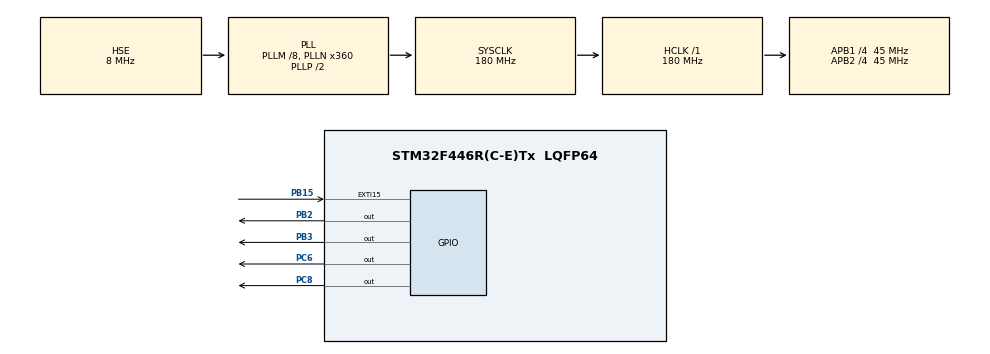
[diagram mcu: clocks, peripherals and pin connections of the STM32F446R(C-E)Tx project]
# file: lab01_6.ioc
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Mcu.Family=STM32F4
Mcu.Name=STM32F446R(C-E)Tx
Mcu.Package=LQFP64
NVIC.EXTI15_10_IRQn=true\:0\:0\:false\:false\:true\:true\:true\:true
NVIC.PriorityGroup=NVIC_PRIORITYGROUP_4
PA13.Mode=Serial_Wire
PA13.Signal=SYS_JTMS-SWDIO
PA14.Mode=Serial_Wire
PA14.Signal=SYS_JTCK-SWCLK
PB15.GPIO_ModeDefaultEXTI=GPIO_MODE_IT_RISING_FALLING
PB15.Signal=GPXTI15
PB2.Signal=GPIO_Output
PB3.Signal=GPIO_Output
PC6.Signal=GPIO_Output
PC8.Signal=GPIO_Output
PH0-OSC_IN.Mode=HSE-External-Oscillator
PH0-OSC_IN.Signal=RCC_OSC_IN
PH1-OSC_OUT.Mode=HSE-External-Oscillator
PH1-OSC_OUT.Signal=RCC_OSC_OUT
ProjectManager.HeapSize=0x200
ProjectManager.StackSize=0x400
ProjectManager.TargetToolchain=STM32CubeIDE
RCC.AHBFreq_Value=180000000
RCC.APB1CLKDivider=RCC_HCLK_DIV4
RCC.APB1Freq_Value=45000000
RCC.APB1TimFreq_Value=90000000
RCC.APB2CLKDivider=RCC_HCLK_DIV4
RCC.APB2Freq_Value=45000000
RCC.APB2TimFreq_Value=90000000
RCC.CortexFreq_Value=180000000
RCC.HCLKFreq_Value=180000000
RCC.HSE_VALUE=8000000
RCC.PLLM=8
RCC.PLLN=360
RCC.PLLSourceVirtual=RCC_PLLSOURCE_HSE
RCC.SYSCLKFreq_VALUE=180000000
RCC.SYSCLKSource=RCC_SYSCLKSOURCE_PLLCLK
RCC.USBFreq_Value=180000000
RCC.VCOOutputFreq_Value=360000000
TIM2.AutoReloadPreload=TIM_AUTORELOAD_PRELOAD_ENABLE
TIM2.Prescaler=90-1
VP_TIM2_VS_ClockSourceINT.Mode=Internal
board=custom

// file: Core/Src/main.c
/* USER CODE BEGIN Header */
/**
  ******************************************************************************
  * @file           : main.c
  * @brief          : Main program body
  ******************************************************************************
  * @attention
  *
  * Copyright (c) 2026 STMicroelectronics.
  * All rights reserved.
  *
  * This software is licensed under terms that can be found in the LICENSE file
  * in the root directory of this software component.
  * If no LICENSE file comes with this software, it is provided AS-IS.
  *
  ******************************************************************************
  */
/* USER CODE END Header */
#include "main.h"

TIM_HandleTypeDef htim2;

/* USER CODE BEGIN PV */
uint8_t position=0;
uint32_t oldTimer=0,curTimer=0;
uint32_t switchDelay = 10000;
/* USER CODE END PV */

void SystemClock_Config(void);
static void MX_GPIO_Init(void);
static void MX_TIM2_Init(void);

/* USER CODE BEGIN 0 */
void clearTimer(){
	__HAL_TIM_SetCounter(&htim2,0);
}

uint32_t getTimer(){
	return __HAL_TIM_GetCounter(&htim2);
}

void uDelay(uint32_t us){
	uint32_t start;
	uint32_t finish = (start =__HAL_TIM_GetCounter(&htim2)) + us;
	if(start > finish){
		while(__HAL_TIM_GetCounter(&htim2)>start); // wait until it overruns
	}
	while(__HAL_TIM_GetCounter(&htim2)<finish);
}

void HAL_GPIO_EXTI_Callback(uint16_t GPIO_Pin){
	if(GPIO_Pin == GPIO_PIN_15){
		if(HAL_GPIO_ReadPin(GPIOB,GPIO_PIN_15)==0){
			//Capture timestamp when pressing button
			oldTimer = __HAL_TIM_GetCounter(&htim2);
		}else{
			//Capture timestamp when releasing button
			curTimer = __HAL_TIM_GetCounter(&htim2);
			if(((curTimer>=oldTimer)&&((curTimer-oldTimer) > switchDelay)) ||
			   ((oldTimer>curTimer)&&(curTimer > switchDelay))){
				position = (position+1)&3;
				oldTimer = curTimer; // set oldTimer for the next button press
			}
		}
	}
}
/* USER CODE END 0 */

int main(void)
{

  /* USER CODE BEGIN 1 */
  int i=0;
  GPIO_TypeDef *ledPort[4] = {GPIOB,GPIOC,GPIOC,GPIOB};
  int ledGPIO[4] = {GPIO_PIN_2,GPIO_PIN_6,GPIO_PIN_8,GPIO_PIN_3};
  /* USER CODE END 1 */

  /* MCU Configuration--------------------------------------------------------*/

  /* Reset of all peripherals, Initializes the Flash interface and the Systick. */
  HAL_Init();

  /* Configure the system clock */
  SystemClock_Config();

  /* Initialize all configured peripherals */
  MX_GPIO_Init();
  MX_TIM2_Init();
  /* USER CODE BEGIN 2 */
  HAL_TIM_Base_Start(&htim2);
  /* USER CODE END 2 */

  /* Infinite loop */
  /* USER CODE BEGIN WHILE */
  while (1)
  {
	  for(i=0;i<4;i++){
		  if(position==i){
			  HAL_GPIO_WritePin(ledPort[i],ledGPIO[i],1);
		  }else{
			  HAL_GPIO_WritePin(ledPort[i],ledGPIO[i],0);
		  }
	  }
	  HAL_Delay(1);
    /* USER CODE END WHILE */

  }
}

void SystemClock_Config(void)
{
  RCC_OscInitTypeDef RCC_OscInitStruct = {0};
  RCC_ClkInitTypeDef RCC_ClkInitStruct = {0};

  /** Configure the main internal regulator output voltage
  */
  __HAL_RCC_PWR_CLK_ENABLE();
  __HAL_PWR_VOLTAGESCALING_CONFIG(PWR_REGULATOR_VOLTAGE_SCALE1);

  /** Initializes the RCC Oscillators according to the specified parameters
  * in the RCC_OscInitTypeDef structure.
  */
  RCC_OscInitStruct.OscillatorType = RCC_OSCILLATORTYPE_HSE;
  RCC_OscInitStruct.HSEState = RCC_HSE_ON;
  RCC_OscInitStruct.PLL.PLLState = RCC_PLL_ON;
  RCC_OscInitStruct.PLL.PLLSource = RCC_PLLSOURCE_HSE;
  RCC_OscInitStruct.PLL.PLLM = 8;
  RCC_OscInitStruct.PLL.PLLN = 360;
  RCC_OscInitStruct.PLL.PLLP = RCC_PLLP_DIV2;
  RCC_OscInitStruct.PLL.PLLQ = 2;
  RCC_OscInitStruct.PLL.PLLR = 2;
  if (HAL_RCC_OscConfig(&RCC_OscInitStruct) != HAL_OK)
  {
    Error_Handler();
  }

  /** Activate the Over-Drive mode
  */
  if (HAL_PWREx_EnableOverDrive() != HAL_OK)
  {
    Error_Handler();
  }

  /** Initializes the CPU, AHB and APB buses clocks
  */
  RCC_ClkInitStruct.ClockType = RCC_CLOCKTYPE_HCLK|RCC_CLOCKTYPE_SYSCLK
                              |RCC_CLOCKTYPE_PCLK1|RCC_CLOCKTYPE_PCLK2;
  RCC_ClkInitStruct.SYSCLKSource = RCC_SYSCLKSOURCE_PLLCLK;
  RCC_ClkInitStruct.AHBCLKDivider = RCC_SYSCLK_DIV1;
  RCC_ClkInitStruct.APB1CLKDivider = RCC_HCLK_DIV4;
  RCC_ClkInitStruct.APB2CLKDivider = RCC_HCLK_DIV4;

  if (HAL_RCC_ClockConfig(&RCC_ClkInitStruct, FLASH_LATENCY_5) != HAL_OK)
  {
    Error_Handler();
  }
}

static void MX_TIM2_Init(void)
{

  TIM_ClockConfigTypeDef sClockSourceConfig = {0};
  TIM_MasterConfigTypeDef sMasterConfig = {0};

  htim2.Instance = TIM2;
  htim2.Init.Prescaler = 90-1;
  htim2.Init.CounterMode = TIM_COUNTERMODE_UP;
  htim2.Init.Period = 4294967295;
  htim2.Init.ClockDivision = TIM_CLOCKDIVISION_DIV1;
  htim2.Init.AutoReloadPreload = TIM_AUTORELOAD_PRELOAD_ENABLE;
  if (HAL_TIM_Base_Init(&htim2) != HAL_OK)
  {
    Error_Handler();
  }
  sClockSourceConfig.ClockSource = TIM_CLOCKSOURCE_INTERNAL;
  if (HAL_TIM_ConfigClockSource(&htim2, &sClockSourceConfig) != HAL_OK)
  {
    Error_Handler();
  }
  sMasterConfig.MasterOutputTrigger = TIM_TRGO_RESET;
  sMasterConfig.MasterSlaveMode = TIM_MASTERSLAVEMODE_DISABLE;
  if (HAL_TIMEx_MasterConfigSynchronization(&htim2, &sMasterConfig) != HAL_OK)
  {
    Error_Handler();
  }

}

static void MX_GPIO_Init(void)
{
  GPIO_InitTypeDef GPIO_InitStruct = {0};

  /* GPIO Ports Clock Enable */
  __HAL_RCC_GPIOH_CLK_ENABLE();
  __HAL_RCC_GPIOB_CLK_ENABLE();
  __HAL_RCC_GPIOC_CLK_ENABLE();
  __HAL_RCC_GPIOA_CLK_ENABLE();

  /*Configure GPIO pin Output Level */
  HAL_GPIO_WritePin(GPIOB, GPIO_PIN_2|GPIO_PIN_3, GPIO_PIN_RESET);

  /*Configure GPIO pin Output Level */
  HAL_GPIO_WritePin(GPIOC, GPIO_PIN_6|GPIO_PIN_8, GPIO_PIN_RESET);

  /*Configure GPIO pins : PB2 PB3 */
  GPIO_InitStruct.Pin = GPIO_PIN_2|GPIO_PIN_3;
  GPIO_InitStruct.Mode = GPIO_MODE_OUTPUT_PP;
  GPIO_InitStruct.Pull = GPIO_NOPULL;
  GPIO_InitStruct.Speed = GPIO_SPEED_FREQ_LOW;
  HAL_GPIO_Init(GPIOB, &GPIO_InitStruct);

  /*Configure GPIO pin : PB15 */
  GPIO_InitStruct.Pin = GPIO_PIN_15;
  GPIO_InitStruct.Mode = GPIO_MODE_IT_RISING_FALLING;
  GPIO_InitStruct.Pull = GPIO_NOPULL;
  HAL_GPIO_Init(GPIOB, &GPIO_InitStruct);

  /*Configure GPIO pins : PC6 PC8 */
  GPIO_InitStruct.Pin = GPIO_PIN_6|GPIO_PIN_8;
  GPIO_InitStruct.Mode = GPIO_MODE_OUTPUT_PP;
  GPIO_InitStruct.Pull = GPIO_NOPULL;
  GPIO_InitStruct.Speed = GPIO_SPEED_FREQ_LOW;
  HAL_GPIO_Init(GPIOC, &GPIO_InitStruct);

  /* EXTI interrupt init*/
  HAL_NVIC_SetPriority(EXTI15_10_IRQn, 0, 0);
  HAL_NVIC_EnableIRQ(EXTI15_10_IRQn);

}

void Error_Handler(void)
{
  __disable_irq();
  while (1)
  {
  }
}
